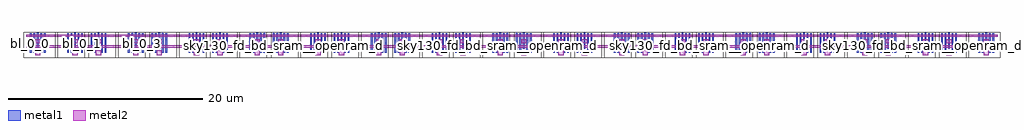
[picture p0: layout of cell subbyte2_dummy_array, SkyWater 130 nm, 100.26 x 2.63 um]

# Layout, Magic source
magic
tech sky130A
magscale 1 2
<< metal1 >>
rect 78 0 114 395
rect 150 0 186 395
rect 222 79 258 420
rect 294 0 330 395
rect 366 0 402 395
rect 846 0 882 395
rect 918 0 954 395
rect 990 79 1026 420
rect 1062 0 1098 395
rect 1134 0 1170 395
rect 1326 0 1362 395
rect 1398 0 1434 395
rect 1470 79 1506 420
rect 1542 0 1578 395
rect 1614 0 1650 395
rect 2094 0 2130 395
rect 2166 0 2202 395
rect 2238 79 2274 420
rect 2310 0 2346 395
rect 2382 0 2418 395
rect 2574 0 2610 395
rect 2646 0 2682 395
rect 2718 79 2754 420
rect 2790 0 2826 395
rect 2862 0 2898 395
rect 3342 0 3378 395
rect 3414 0 3450 395
rect 3486 79 3522 420
rect 3558 0 3594 395
rect 3630 0 3666 395
rect 3822 0 3858 395
rect 3894 0 3930 395
rect 3966 79 4002 420
rect 4038 0 4074 395
rect 4110 0 4146 395
rect 4590 0 4626 395
rect 4662 0 4698 395
rect 4734 79 4770 420
rect 4806 0 4842 395
rect 4878 0 4914 395
rect 5070 0 5106 395
rect 5142 0 5178 395
rect 5214 79 5250 420
rect 5286 0 5322 395
rect 5358 0 5394 395
rect 5838 0 5874 395
rect 5910 0 5946 395
rect 5982 79 6018 420
rect 6054 0 6090 395
rect 6126 0 6162 395
rect 6318 0 6354 395
rect 6390 0 6426 395
rect 6462 79 6498 420
rect 6534 0 6570 395
rect 6606 0 6642 395
rect 7086 0 7122 395
rect 7158 0 7194 395
rect 7230 79 7266 420
rect 7302 0 7338 395
rect 7374 0 7410 395
rect 7566 0 7602 395
rect 7638 0 7674 395
rect 7710 79 7746 420
rect 7782 0 7818 395
rect 7854 0 7890 395
rect 8334 0 8370 395
rect 8406 0 8442 395
rect 8478 79 8514 420
rect 8550 0 8586 395
rect 8622 0 8658 395
rect 8814 0 8850 395
rect 8886 0 8922 395
rect 8958 79 8994 420
rect 9030 0 9066 395
rect 9102 0 9138 395
rect 9582 0 9618 395
rect 9654 0 9690 395
rect 9726 79 9762 420
rect 9798 0 9834 395
rect 9870 0 9906 395
rect 10062 0 10098 395
rect 10134 0 10170 395
rect 10206 79 10242 420
rect 10278 0 10314 395
rect 10350 0 10386 395
rect 10830 0 10866 395
rect 10902 0 10938 395
rect 10974 79 11010 420
rect 11046 0 11082 395
rect 11118 0 11154 395
rect 11310 0 11346 395
rect 11382 0 11418 395
rect 11454 79 11490 420
rect 11526 0 11562 395
rect 11598 0 11634 395
rect 12078 0 12114 395
rect 12150 0 12186 395
rect 12222 79 12258 420
rect 12294 0 12330 395
rect 12366 0 12402 395
rect 12558 0 12594 395
rect 12630 0 12666 395
rect 12702 79 12738 420
rect 12774 0 12810 395
rect 12846 0 12882 395
rect 13326 0 13362 395
rect 13398 0 13434 395
rect 13470 79 13506 420
rect 13542 0 13578 395
rect 13614 0 13650 395
rect 13806 0 13842 395
rect 13878 0 13914 395
rect 13950 79 13986 420
rect 14022 0 14058 395
rect 14094 0 14130 395
rect 14574 0 14610 395
rect 14646 0 14682 395
rect 14718 79 14754 420
rect 14790 0 14826 395
rect 14862 0 14898 395
rect 15054 0 15090 395
rect 15126 0 15162 395
rect 15198 79 15234 420
rect 15270 0 15306 395
rect 15342 0 15378 395
rect 15822 0 15858 395
rect 15894 0 15930 395
rect 15966 79 16002 420
rect 16038 0 16074 395
rect 16110 0 16146 395
rect 16302 0 16338 395
rect 16374 0 16410 395
rect 16446 79 16482 420
rect 16518 0 16554 395
rect 16590 0 16626 395
rect 17070 0 17106 395
rect 17142 0 17178 395
rect 17214 79 17250 420
rect 17286 0 17322 395
rect 17358 0 17394 395
rect 17550 0 17586 395
rect 17622 0 17658 395
rect 17694 79 17730 420
rect 17766 0 17802 395
rect 17838 0 17874 395
rect 18318 0 18354 395
rect 18390 0 18426 395
rect 18462 79 18498 420
rect 18534 0 18570 395
rect 18606 0 18642 395
rect 18798 0 18834 395
rect 18870 0 18906 395
rect 18942 79 18978 420
rect 19014 0 19050 395
rect 19086 0 19122 395
rect 19566 0 19602 395
rect 19638 0 19674 395
rect 19710 79 19746 420
rect 19782 0 19818 395
rect 19854 0 19890 395
<< metal2 >>
rect 0 323 19968 371
rect 186 199 294 275
rect 954 199 1062 275
rect 1434 199 1542 275
rect 2202 199 2310 275
rect 2682 199 2790 275
rect 3450 199 3558 275
rect 3930 199 4038 275
rect 4698 199 4806 275
rect 5178 199 5286 275
rect 5946 199 6054 275
rect 6426 199 6534 275
rect 7194 199 7302 275
rect 7674 199 7782 275
rect 8442 199 8550 275
rect 8922 199 9030 275
rect 9690 199 9798 275
rect 10170 199 10278 275
rect 10938 199 11046 275
rect 11418 199 11526 275
rect 12186 199 12294 275
rect 12666 199 12774 275
rect 13434 199 13542 275
rect 13914 199 14022 275
rect 14682 199 14790 275
rect 15162 199 15270 275
rect 15930 199 16038 275
rect 16410 199 16518 275
rect 17178 199 17286 275
rect 17658 199 17766 275
rect 18426 199 18534 275
rect 18906 199 19014 275
rect 19674 199 19782 275
rect 0 103 19968 151
rect 186 -55 294 55
rect 954 -55 1062 55
rect 1434 -55 1542 55
rect 2202 -55 2310 55
rect 2682 -55 2790 55
rect 3450 -55 3558 55
rect 3930 -55 4038 55
rect 4698 -55 4806 55
rect 5178 -55 5286 55
rect 5946 -55 6054 55
rect 6426 -55 6534 55
rect 7194 -55 7302 55
rect 7674 -55 7782 55
rect 8442 -55 8550 55
rect 8922 -55 9030 55
rect 9690 -55 9798 55
rect 10170 -55 10278 55
rect 10938 -55 11046 55
rect 11418 -55 11526 55
rect 12186 -55 12294 55
rect 12666 -55 12774 55
rect 13434 -55 13542 55
rect 13914 -55 14022 55
rect 14682 -55 14790 55
rect 15162 -55 15270 55
rect 15930 -55 16038 55
rect 16410 -55 16518 55
rect 17178 -55 17286 55
rect 17658 -55 17766 55
rect 18426 -55 18534 55
rect 18906 -55 19014 55
rect 19674 -55 19782 55
use sky130_fd_bd_sram__openram_dp_cell_dummy  sky130_fd_bd_sram__openram_dp_cell_dummy_0
transform -1 0 19968 0 1 0
box -42 -105 650 421
use sky130_fd_bd_sram__openram_dp_cell_dummy  sky130_fd_bd_sram__openram_dp_cell_dummy_1
transform 1 0 18720 0 1 0
box -42 -105 650 421
use sky130_fd_bd_sram__openram_dp_cell_dummy  sky130_fd_bd_sram__openram_dp_cell_dummy_2
transform -1 0 18720 0 1 0
box -42 -105 650 421
use sky130_fd_bd_sram__openram_dp_cell_dummy  sky130_fd_bd_sram__openram_dp_cell_dummy_3
transform 1 0 17472 0 1 0
box -42 -105 650 421
use sky130_fd_bd_sram__openram_dp_cell_dummy  sky130_fd_bd_sram__openram_dp_cell_dummy_4
transform -1 0 17472 0 1 0
box -42 -105 650 421
use sky130_fd_bd_sram__openram_dp_cell_dummy  sky130_fd_bd_sram__openram_dp_cell_dummy_5
transform 1 0 16224 0 1 0
box -42 -105 650 421
use sky130_fd_bd_sram__openram_dp_cell_dummy  sky130_fd_bd_sram__openram_dp_cell_dummy_6
transform -1 0 16224 0 1 0
box -42 -105 650 421
use sky130_fd_bd_sram__openram_dp_cell_dummy  sky130_fd_bd_sram__openram_dp_cell_dummy_7
transform 1 0 14976 0 1 0
box -42 -105 650 421
use sky130_fd_bd_sram__openram_dp_cell_dummy  sky130_fd_bd_sram__openram_dp_cell_dummy_8
transform -1 0 14976 0 1 0
box -42 -105 650 421
use sky130_fd_bd_sram__openram_dp_cell_dummy  sky130_fd_bd_sram__openram_dp_cell_dummy_9
transform 1 0 13728 0 1 0
box -42 -105 650 421
use sky130_fd_bd_sram__openram_dp_cell_dummy  sky130_fd_bd_sram__openram_dp_cell_dummy_10
transform -1 0 13728 0 1 0
box -42 -105 650 421
use sky130_fd_bd_sram__openram_dp_cell_dummy  sky130_fd_bd_sram__openram_dp_cell_dummy_11
transform 1 0 12480 0 1 0
box -42 -105 650 421
use sky130_fd_bd_sram__openram_dp_cell_dummy  sky130_fd_bd_sram__openram_dp_cell_dummy_12
transform -1 0 12480 0 1 0
box -42 -105 650 421
use sky130_fd_bd_sram__openram_dp_cell_dummy  sky130_fd_bd_sram__openram_dp_cell_dummy_13
transform 1 0 11232 0 1 0
box -42 -105 650 421
use sky130_fd_bd_sram__openram_dp_cell_dummy  sky130_fd_bd_sram__openram_dp_cell_dummy_14
transform -1 0 11232 0 1 0
box -42 -105 650 421
use sky130_fd_bd_sram__openram_dp_cell_dummy  sky130_fd_bd_sram__openram_dp_cell_dummy_15
transform 1 0 9984 0 1 0
box -42 -105 650 421
use sky130_fd_bd_sram__openram_dp_cell_dummy  sky130_fd_bd_sram__openram_dp_cell_dummy_16
transform -1 0 9984 0 1 0
box -42 -105 650 421
use sky130_fd_bd_sram__openram_dp_cell_dummy  sky130_fd_bd_sram__openram_dp_cell_dummy_17
transform 1 0 8736 0 1 0
box -42 -105 650 421
use sky130_fd_bd_sram__openram_dp_cell_dummy  sky130_fd_bd_sram__openram_dp_cell_dummy_18
transform -1 0 8736 0 1 0
box -42 -105 650 421
use sky130_fd_bd_sram__openram_dp_cell_dummy  sky130_fd_bd_sram__openram_dp_cell_dummy_19
transform 1 0 7488 0 1 0
box -42 -105 650 421
use sky130_fd_bd_sram__openram_dp_cell_dummy  sky130_fd_bd_sram__openram_dp_cell_dummy_20
transform -1 0 7488 0 1 0
box -42 -105 650 421
use sky130_fd_bd_sram__openram_dp_cell_dummy  sky130_fd_bd_sram__openram_dp_cell_dummy_21
transform 1 0 6240 0 1 0
box -42 -105 650 421
use sky130_fd_bd_sram__openram_dp_cell_dummy  sky130_fd_bd_sram__openram_dp_cell_dummy_22
transform -1 0 6240 0 1 0
box -42 -105 650 421
use sky130_fd_bd_sram__openram_dp_cell_dummy  sky130_fd_bd_sram__openram_dp_cell_dummy_23
transform 1 0 4992 0 1 0
box -42 -105 650 421
use sky130_fd_bd_sram__openram_dp_cell_dummy  sky130_fd_bd_sram__openram_dp_cell_dummy_24
transform -1 0 4992 0 1 0
box -42 -105 650 421
use sky130_fd_bd_sram__openram_dp_cell_dummy  sky130_fd_bd_sram__openram_dp_cell_dummy_25
transform 1 0 3744 0 1 0
box -42 -105 650 421
use sky130_fd_bd_sram__openram_dp_cell_dummy  sky130_fd_bd_sram__openram_dp_cell_dummy_26
transform -1 0 3744 0 1 0
box -42 -105 650 421
use sky130_fd_bd_sram__openram_dp_cell_dummy  sky130_fd_bd_sram__openram_dp_cell_dummy_27
transform 1 0 2496 0 1 0
box -42 -105 650 421
use sky130_fd_bd_sram__openram_dp_cell_dummy  sky130_fd_bd_sram__openram_dp_cell_dummy_28
transform -1 0 2496 0 1 0
box -42 -105 650 421
use sky130_fd_bd_sram__openram_dp_cell_dummy  sky130_fd_bd_sram__openram_dp_cell_dummy_29
transform 1 0 1248 0 1 0
box -42 -105 650 421
use sky130_fd_bd_sram__openram_dp_cell_dummy  sky130_fd_bd_sram__openram_dp_cell_dummy_30
transform -1 0 1248 0 1 0
box -42 -105 650 421
use sky130_fd_bd_sram__openram_dp_cell_dummy  sky130_fd_bd_sram__openram_dp_cell_dummy_31
transform 1 0 0 0 1 0
box -42 -105 650 421
<< labels >>
rlabel metal1 s 78 0 114 395 4 bl_0_0
port 3 nsew
rlabel metal1 s 150 0 186 395 4 br_0_0
port 5 nsew
rlabel metal1 s 294 0 330 395 4 bl_1_0
port 7 nsew
rlabel metal1 s 366 0 402 395 4 br_1_0
port 9 nsew
rlabel metal1 s 1134 0 1170 395 4 bl_0_1
port 11 nsew
rlabel metal1 s 1062 0 1098 395 4 br_0_1
port 13 nsew
rlabel metal1 s 918 0 954 395 4 bl_1_1
port 15 nsew
rlabel metal1 s 846 0 882 395 4 br_1_1
port 17 nsew
rlabel metal1 s 1326 0 1362 395 4 bl_0_2
port 19 nsew
rlabel metal1 s 1398 0 1434 395 4 br_0_2
port 21 nsew
rlabel metal1 s 1542 0 1578 395 4 bl_1_2
port 23 nsew
rlabel metal1 s 1614 0 1650 395 4 br_1_2
port 25 nsew
rlabel metal1 s 2382 0 2418 395 4 bl_0_3
port 27 nsew
rlabel metal1 s 2310 0 2346 395 4 br_0_3
port 29 nsew
rlabel metal1 s 2166 0 2202 395 4 bl_1_3
port 31 nsew
rlabel metal1 s 2094 0 2130 395 4 br_1_3
port 33 nsew
rlabel metal1 s 2574 0 2610 395 4 bl_0_4
port 35 nsew
rlabel metal1 s 2646 0 2682 395 4 br_0_4
port 37 nsew
rlabel metal1 s 2790 0 2826 395 4 bl_1_4
port 39 nsew
rlabel metal1 s 2862 0 2898 395 4 br_1_4
port 41 nsew
rlabel metal1 s 3630 0 3666 395 4 bl_0_5
port 43 nsew
rlabel metal1 s 3558 0 3594 395 4 br_0_5
port 45 nsew
rlabel metal1 s 3414 0 3450 395 4 bl_1_5
port 47 nsew
rlabel metal1 s 3342 0 3378 395 4 br_1_5
port 49 nsew
rlabel metal1 s 3822 0 3858 395 4 bl_0_6
port 51 nsew
rlabel metal1 s 3894 0 3930 395 4 br_0_6
port 53 nsew
rlabel metal1 s 4038 0 4074 395 4 bl_1_6
port 55 nsew
rlabel metal1 s 4110 0 4146 395 4 br_1_6
port 57 nsew
rlabel metal1 s 4878 0 4914 395 4 bl_0_7
port 59 nsew
rlabel metal1 s 4806 0 4842 395 4 br_0_7
port 61 nsew
rlabel metal1 s 4662 0 4698 395 4 bl_1_7
port 63 nsew
rlabel metal1 s 4590 0 4626 395 4 br_1_7
port 65 nsew
rlabel metal1 s 5070 0 5106 395 4 bl_0_8
port 67 nsew
rlabel metal1 s 5142 0 5178 395 4 br_0_8
port 69 nsew
rlabel metal1 s 5286 0 5322 395 4 bl_1_8
port 71 nsew
rlabel metal1 s 5358 0 5394 395 4 br_1_8
port 73 nsew
rlabel metal1 s 6126 0 6162 395 4 bl_0_9
port 75 nsew
rlabel metal1 s 6054 0 6090 395 4 br_0_9
port 77 nsew
rlabel metal1 s 5910 0 5946 395 4 bl_1_9
port 79 nsew
rlabel metal1 s 5838 0 5874 395 4 br_1_9
port 81 nsew
rlabel metal1 s 6318 0 6354 395 4 bl_0_10
port 83 nsew
rlabel metal1 s 6390 0 6426 395 4 br_0_10
port 85 nsew
rlabel metal1 s 6534 0 6570 395 4 bl_1_10
port 87 nsew
rlabel metal1 s 6606 0 6642 395 4 br_1_10
port 89 nsew
rlabel metal1 s 7374 0 7410 395 4 bl_0_11
port 91 nsew
rlabel metal1 s 7302 0 7338 395 4 br_0_11
port 93 nsew
rlabel metal1 s 7158 0 7194 395 4 bl_1_11
port 95 nsew
rlabel metal1 s 7086 0 7122 395 4 br_1_11
port 97 nsew
rlabel metal1 s 7566 0 7602 395 4 bl_0_12
port 99 nsew
rlabel metal1 s 7638 0 7674 395 4 br_0_12
port 101 nsew
rlabel metal1 s 7782 0 7818 395 4 bl_1_12
port 103 nsew
rlabel metal1 s 7854 0 7890 395 4 br_1_12
port 105 nsew
rlabel metal1 s 8622 0 8658 395 4 bl_0_13
port 107 nsew
rlabel metal1 s 8550 0 8586 395 4 br_0_13
port 109 nsew
rlabel metal1 s 8406 0 8442 395 4 bl_1_13
port 111 nsew
rlabel metal1 s 8334 0 8370 395 4 br_1_13
port 113 nsew
rlabel metal1 s 8814 0 8850 395 4 bl_0_14
port 115 nsew
rlabel metal1 s 8886 0 8922 395 4 br_0_14
port 117 nsew
rlabel metal1 s 9030 0 9066 395 4 bl_1_14
port 119 nsew
rlabel metal1 s 9102 0 9138 395 4 br_1_14
port 121 nsew
rlabel metal1 s 9870 0 9906 395 4 bl_0_15
port 123 nsew
rlabel metal1 s 9798 0 9834 395 4 br_0_15
port 125 nsew
rlabel metal1 s 9654 0 9690 395 4 bl_1_15
port 127 nsew
rlabel metal1 s 9582 0 9618 395 4 br_1_15
port 129 nsew
rlabel metal1 s 10062 0 10098 395 4 bl_0_16
port 131 nsew
rlabel metal1 s 10134 0 10170 395 4 br_0_16
port 133 nsew
rlabel metal1 s 10278 0 10314 395 4 bl_1_16
port 135 nsew
rlabel metal1 s 10350 0 10386 395 4 br_1_16
port 137 nsew
rlabel metal1 s 11118 0 11154 395 4 bl_0_17
port 139 nsew
rlabel metal1 s 11046 0 11082 395 4 br_0_17
port 141 nsew
rlabel metal1 s 10902 0 10938 395 4 bl_1_17
port 143 nsew
rlabel metal1 s 10830 0 10866 395 4 br_1_17
port 145 nsew
rlabel metal1 s 11310 0 11346 395 4 bl_0_18
port 147 nsew
rlabel metal1 s 11382 0 11418 395 4 br_0_18
port 149 nsew
rlabel metal1 s 11526 0 11562 395 4 bl_1_18
port 151 nsew
rlabel metal1 s 11598 0 11634 395 4 br_1_18
port 153 nsew
rlabel metal1 s 12366 0 12402 395 4 bl_0_19
port 155 nsew
rlabel metal1 s 12294 0 12330 395 4 br_0_19
port 157 nsew
rlabel metal1 s 12150 0 12186 395 4 bl_1_19
port 159 nsew
rlabel metal1 s 12078 0 12114 395 4 br_1_19
port 161 nsew
rlabel metal1 s 12558 0 12594 395 4 bl_0_20
port 163 nsew
rlabel metal1 s 12630 0 12666 395 4 br_0_20
port 165 nsew
rlabel metal1 s 12774 0 12810 395 4 bl_1_20
port 167 nsew
rlabel metal1 s 12846 0 12882 395 4 br_1_20
port 169 nsew
rlabel metal1 s 13614 0 13650 395 4 bl_0_21
port 171 nsew
rlabel metal1 s 13542 0 13578 395 4 br_0_21
port 173 nsew
rlabel metal1 s 13398 0 13434 395 4 bl_1_21
port 175 nsew
rlabel metal1 s 13326 0 13362 395 4 br_1_21
port 177 nsew
rlabel metal1 s 13806 0 13842 395 4 bl_0_22
port 179 nsew
rlabel metal1 s 13878 0 13914 395 4 br_0_22
port 181 nsew
rlabel metal1 s 14022 0 14058 395 4 bl_1_22
port 183 nsew
rlabel metal1 s 14094 0 14130 395 4 br_1_22
port 185 nsew
rlabel metal1 s 14862 0 14898 395 4 bl_0_23
port 187 nsew
rlabel metal1 s 14790 0 14826 395 4 br_0_23
port 189 nsew
rlabel metal1 s 14646 0 14682 395 4 bl_1_23
port 191 nsew
rlabel metal1 s 14574 0 14610 395 4 br_1_23
port 193 nsew
rlabel metal1 s 15054 0 15090 395 4 bl_0_24
port 195 nsew
rlabel metal1 s 15126 0 15162 395 4 br_0_24
port 197 nsew
rlabel metal1 s 15270 0 15306 395 4 bl_1_24
port 199 nsew
rlabel metal1 s 15342 0 15378 395 4 br_1_24
port 201 nsew
rlabel metal1 s 16110 0 16146 395 4 bl_0_25
port 203 nsew
rlabel metal1 s 16038 0 16074 395 4 br_0_25
port 205 nsew
rlabel metal1 s 15894 0 15930 395 4 bl_1_25
port 207 nsew
rlabel metal1 s 15822 0 15858 395 4 br_1_25
port 209 nsew
rlabel metal1 s 16302 0 16338 395 4 bl_0_26
port 211 nsew
rlabel metal1 s 16374 0 16410 395 4 br_0_26
port 213 nsew
rlabel metal1 s 16518 0 16554 395 4 bl_1_26
port 215 nsew
rlabel metal1 s 16590 0 16626 395 4 br_1_26
port 217 nsew
rlabel metal1 s 17358 0 17394 395 4 bl_0_27
port 219 nsew
rlabel metal1 s 17286 0 17322 395 4 br_0_27
port 221 nsew
rlabel metal1 s 17142 0 17178 395 4 bl_1_27
port 223 nsew
rlabel metal1 s 17070 0 17106 395 4 br_1_27
port 225 nsew
rlabel metal1 s 17550 0 17586 395 4 bl_0_28
port 227 nsew
rlabel metal1 s 17622 0 17658 395 4 br_0_28
port 229 nsew
rlabel metal1 s 17766 0 17802 395 4 bl_1_28
port 231 nsew
rlabel metal1 s 17838 0 17874 395 4 br_1_28
port 233 nsew
rlabel metal1 s 18606 0 18642 395 4 bl_0_29
port 235 nsew
rlabel metal1 s 18534 0 18570 395 4 br_0_29
port 237 nsew
rlabel metal1 s 18390 0 18426 395 4 bl_1_29
port 239 nsew
rlabel metal1 s 18318 0 18354 395 4 br_1_29
port 241 nsew
rlabel metal1 s 18798 0 18834 395 4 bl_0_30
port 243 nsew
rlabel metal1 s 18870 0 18906 395 4 br_0_30
port 245 nsew
rlabel metal1 s 19014 0 19050 395 4 bl_1_30
port 247 nsew
rlabel metal1 s 19086 0 19122 395 4 br_1_30
port 249 nsew
rlabel metal1 s 19854 0 19890 395 4 bl_0_31
port 251 nsew
rlabel metal1 s 19782 0 19818 395 4 br_0_31
port 253 nsew
rlabel metal1 s 19638 0 19674 395 4 bl_1_31
port 255 nsew
rlabel metal1 s 19566 0 19602 395 4 br_1_31
port 257 nsew
rlabel metal2 s 0 323 19968 371 4 wl_0_0
port 259 nsew
rlabel metal2 s 0 103 19968 151 4 wl_1_0
port 261 nsew
rlabel metal1 s 9726 79 9762 420 4 vdd
port 263 nsew
rlabel metal1 s 13470 79 13506 420 4 vdd
port 263 nsew
rlabel metal1 s 3966 79 4002 420 4 vdd
port 263 nsew
rlabel metal1 s 5982 79 6018 420 4 vdd
port 263 nsew
rlabel metal1 s 18462 79 18498 420 4 vdd
port 263 nsew
rlabel metal1 s 10206 79 10242 420 4 vdd
port 263 nsew
rlabel metal1 s 1470 79 1506 420 4 vdd
port 263 nsew
rlabel metal1 s 4734 79 4770 420 4 vdd
port 263 nsew
rlabel metal1 s 14718 79 14754 420 4 vdd
port 263 nsew
rlabel metal1 s 15198 79 15234 420 4 vdd
port 263 nsew
rlabel metal1 s 8958 79 8994 420 4 vdd
port 263 nsew
rlabel metal1 s 18942 79 18978 420 4 vdd
port 263 nsew
rlabel metal1 s 13950 79 13986 420 4 vdd
port 263 nsew
rlabel metal1 s 7710 79 7746 420 4 vdd
port 263 nsew
rlabel metal1 s 11454 79 11490 420 4 vdd
port 263 nsew
rlabel metal1 s 222 79 258 420 4 vdd
port 263 nsew
rlabel metal1 s 15966 79 16002 420 4 vdd
port 263 nsew
rlabel metal1 s 12702 79 12738 420 4 vdd
port 263 nsew
rlabel metal1 s 5214 79 5250 420 4 vdd
port 263 nsew
rlabel metal1 s 17694 79 17730 420 4 vdd
port 263 nsew
rlabel metal1 s 8478 79 8514 420 4 vdd
port 263 nsew
rlabel metal1 s 12222 79 12258 420 4 vdd
port 263 nsew
rlabel metal1 s 3486 79 3522 420 4 vdd
port 263 nsew
rlabel metal1 s 2718 79 2754 420 4 vdd
port 263 nsew
rlabel metal1 s 17214 79 17250 420 4 vdd
port 263 nsew
rlabel metal1 s 7230 79 7266 420 4 vdd
port 263 nsew
rlabel metal1 s 19710 79 19746 420 4 vdd
port 263 nsew
rlabel metal1 s 16446 79 16482 420 4 vdd
port 263 nsew
rlabel metal1 s 2238 79 2274 420 4 vdd
port 263 nsew
rlabel metal1 s 990 79 1026 420 4 vdd
port 263 nsew
rlabel metal1 s 6462 79 6498 420 4 vdd
port 263 nsew
rlabel metal1 s 10974 79 11010 420 4 vdd
port 263 nsew
rlabel metal2 s 6426 199 6534 275 4 gnd
port 265 nsew
rlabel metal2 s 10938 199 11046 275 4 gnd
port 265 nsew
rlabel metal2 s 12666 199 12774 275 4 gnd
port 265 nsew
rlabel metal2 s 12186 -55 12294 55 4 gnd
port 265 nsew
rlabel metal2 s 18426 199 18534 275 4 gnd
port 265 nsew
rlabel metal2 s 19674 199 19782 275 4 gnd
port 265 nsew
rlabel metal2 s 4698 -55 4806 55 4 gnd
port 265 nsew
rlabel metal2 s 9690 199 9798 275 4 gnd
port 265 nsew
rlabel metal2 s 7674 199 7782 275 4 gnd
port 265 nsew
rlabel metal2 s 8442 -55 8550 55 4 gnd
port 265 nsew
rlabel metal2 s 186 199 294 275 4 gnd
port 265 nsew
rlabel metal2 s 17658 199 17766 275 4 gnd
port 265 nsew
rlabel metal2 s 3450 199 3558 275 4 gnd
port 265 nsew
rlabel metal2 s 14682 -55 14790 55 4 gnd
port 265 nsew
rlabel metal2 s 17658 -55 17766 55 4 gnd
port 265 nsew
rlabel metal2 s 2682 199 2790 275 4 gnd
port 265 nsew
rlabel metal2 s 954 -55 1062 55 4 gnd
port 265 nsew
rlabel metal2 s 17178 -55 17286 55 4 gnd
port 265 nsew
rlabel metal2 s 16410 -55 16518 55 4 gnd
port 265 nsew
rlabel metal2 s 1434 199 1542 275 4 gnd
port 265 nsew
rlabel metal2 s 13434 -55 13542 55 4 gnd
port 265 nsew
rlabel metal2 s 6426 -55 6534 55 4 gnd
port 265 nsew
rlabel metal2 s 13434 199 13542 275 4 gnd
port 265 nsew
rlabel metal2 s 18906 -55 19014 55 4 gnd
port 265 nsew
rlabel metal2 s 15930 199 16038 275 4 gnd
port 265 nsew
rlabel metal2 s 5178 199 5286 275 4 gnd
port 265 nsew
rlabel metal2 s 2202 -55 2310 55 4 gnd
port 265 nsew
rlabel metal2 s 5946 -55 6054 55 4 gnd
port 265 nsew
rlabel metal2 s 4698 199 4806 275 4 gnd
port 265 nsew
rlabel metal2 s 15162 -55 15270 55 4 gnd
port 265 nsew
rlabel metal2 s 1434 -55 1542 55 4 gnd
port 265 nsew
rlabel metal2 s 10170 199 10278 275 4 gnd
port 265 nsew
rlabel metal2 s 13914 199 14022 275 4 gnd
port 265 nsew
rlabel metal2 s 7674 -55 7782 55 4 gnd
port 265 nsew
rlabel metal2 s 16410 199 16518 275 4 gnd
port 265 nsew
rlabel metal2 s 17178 199 17286 275 4 gnd
port 265 nsew
rlabel metal2 s 954 199 1062 275 4 gnd
port 265 nsew
rlabel metal2 s 8442 199 8550 275 4 gnd
port 265 nsew
rlabel metal2 s 12666 -55 12774 55 4 gnd
port 265 nsew
rlabel metal2 s 14682 199 14790 275 4 gnd
port 265 nsew
rlabel metal2 s 11418 -55 11526 55 4 gnd
port 265 nsew
rlabel metal2 s 18906 199 19014 275 4 gnd
port 265 nsew
rlabel metal2 s 5946 199 6054 275 4 gnd
port 265 nsew
rlabel metal2 s 5178 -55 5286 55 4 gnd
port 265 nsew
rlabel metal2 s 8922 199 9030 275 4 gnd
port 265 nsew
rlabel metal2 s 7194 199 7302 275 4 gnd
port 265 nsew
rlabel metal2 s 2202 199 2310 275 4 gnd
port 265 nsew
rlabel metal2 s 15162 199 15270 275 4 gnd
port 265 nsew
rlabel metal2 s 18426 -55 18534 55 4 gnd
port 265 nsew
rlabel metal2 s 3930 199 4038 275 4 gnd
port 265 nsew
rlabel metal2 s 2682 -55 2790 55 4 gnd
port 265 nsew
rlabel metal2 s 10938 -55 11046 55 4 gnd
port 265 nsew
rlabel metal2 s 10170 -55 10278 55 4 gnd
port 265 nsew
rlabel metal2 s 11418 199 11526 275 4 gnd
port 265 nsew
rlabel metal2 s 15930 -55 16038 55 4 gnd
port 265 nsew
rlabel metal2 s 186 -55 294 55 4 gnd
port 265 nsew
rlabel metal2 s 7194 -55 7302 55 4 gnd
port 265 nsew
rlabel metal2 s 8922 -55 9030 55 4 gnd
port 265 nsew
rlabel metal2 s 19674 -55 19782 55 4 gnd
port 265 nsew
rlabel metal2 s 3450 -55 3558 55 4 gnd
port 265 nsew
rlabel metal2 s 12186 199 12294 275 4 gnd
port 265 nsew
rlabel metal2 s 9690 -55 9798 55 4 gnd
port 265 nsew
rlabel metal2 s 3930 -55 4038 55 4 gnd
port 265 nsew
rlabel metal2 s 13914 -55 14022 55 4 gnd
port 265 nsew
<< properties >>
string FIXED_BBOX 0 0 19968 395
<< end >>
